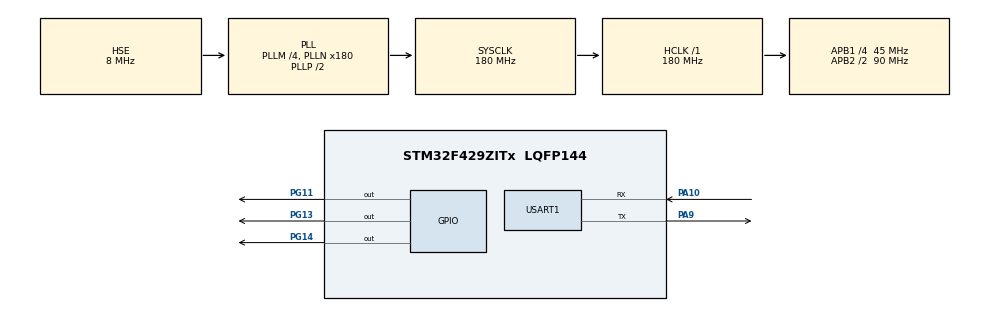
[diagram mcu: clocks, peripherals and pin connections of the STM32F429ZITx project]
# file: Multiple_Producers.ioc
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FREERTOS.Tasks01=defaultTask,0,128,StartDefaultTask,Default,NULL,Dynamic,NULL,NULL
Mcu.Family=STM32F4
Mcu.Name=STM32F429ZITx
Mcu.Package=LQFP144
NVIC.PriorityGroup=NVIC_PRIORITYGROUP_4
NVIC.TIM6_DAC_IRQn=true\:15\:0\:false\:false\:true\:false\:false\:true\:true
NVIC.TimeBase=TIM6_DAC_IRQn
NVIC.TimeBaseIP=TIM6
PA10.Mode=Asynchronous
PA10.Signal=USART1_RX
PA9.Mode=Asynchronous
PA9.Signal=USART1_TX
PG11.Signal=GPIO_Output
PG13.Signal=GPIO_Output
PG14.Signal=GPIO_Output
PH0/OSC_IN.Mode=HSE-External-Oscillator
PH0/OSC_IN.Signal=RCC_OSC_IN
PH1/OSC_OUT.Mode=HSE-External-Oscillator
PH1/OSC_OUT.Signal=RCC_OSC_OUT
ProjectManager.HeapSize=0x200
ProjectManager.StackSize=0x400
ProjectManager.TargetToolchain=STM32CubeIDE
RCC.48MHZClocksFreq_Value=51428571.428571425
RCC.AHBFreq_Value=180000000
RCC.APB1CLKDivider=RCC_HCLK_DIV4
RCC.APB1Freq_Value=45000000
RCC.APB1TimFreq_Value=90000000
RCC.APB2CLKDivider=RCC_HCLK_DIV2
RCC.APB2Freq_Value=90000000
RCC.APB2TimFreq_Value=180000000
RCC.CortexFreq_Value=180000000
RCC.HCLKFreq_Value=180000000
RCC.HSE_VALUE=8000000
RCC.HSI_VALUE=16000000
RCC.LSE_VALUE=32768
RCC.PLLM=4
RCC.PLLN=180
RCC.PLLQ=7
RCC.PLLSourceVirtual=RCC_PLLSOURCE_HSE
RCC.SYSCLKFreq_VALUE=180000000
RCC.SYSCLKSource=RCC_SYSCLKSOURCE_PLLCLK
RCC.VCOOutputFreq_Value=360000000
USART1.VirtualMode=VM_ASYNC
VP_FREERTOS_VS_CMSIS_V1.Mode=CMSIS_V1
VP_SYS_VS_tim6.Mode=TIM6
board=STM32F429I-DISC1

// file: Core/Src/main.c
/* USER CODE BEGIN Header */
/**
  ******************************************************************************
  * @file           : main.c
  * @brief          : Main program body
  ******************************************************************************
  * @attention
  *
  * Copyright (c) 2025 STMicroelectronics.
  * All rights reserved.
  *
  * This software is licensed under terms that can be found in the LICENSE file
  * in the root directory of this software component.
  * If no LICENSE file comes with this software, it is provided AS-IS.
  *
  ******************************************************************************
  */
/* USER CODE END Header */
#include "main.h"

#include "FreeRTOS.h"
#include "task.h"

#include "message_buffer.h"

#include "string.h"
#include "stdio.h"

UART_HandleTypeDef huart1;

void SystemClock_Config(void);
static void MX_GPIO_Init(void);
static void MX_USART1_UART_Init(void);

/* USER CODE BEGIN 0 */

/* *************************** Message Buffer Handle *********************** */
MessageBufferHandle_t MessageBuffer_Handle;

/* *************************** Tasks Handles ****************************** */
TaskHandle_t Producer01_Handle;
TaskHandle_t Producer02_Handle;

TaskHandle_t Consumer_Handle;

/* *************************** Task Functions ******************************* */
void Producer01(void* pv)
{
	uint8_t msg[8];
	memset(msg, 'a', sizeof(msg));

	for(;;)
	{
		if(xMessageBufferSend(MessageBuffer_Handle, msg, sizeof(msg), pdMS_TO_TICKS(100)) != pdPASS)
		{
			HAL_UART_Transmit(&huart1, (uint8_t*)"P1 Message Send Failed\n", 24, HAL_MAX_DELAY);
			HAL_GPIO_TogglePin(GPIOG, GPIO_PIN_13);
		}

		vTaskDelay(pdMS_TO_TICKS(400));
	}
}

void Producer02(void* pv)
{
	uint8_t msg[24];
	memset(msg, 'B', sizeof(msg));

	for(;;)
	{
		if(xMessageBufferSend(MessageBuffer_Handle, msg, sizeof(msg), pdMS_TO_TICKS(100)) != pdPASS)
		{
			HAL_UART_Transmit(&huart1, (uint8_t*) "P2 Message Send Failed\n", 24, HAL_MAX_DELAY);
			HAL_GPIO_TogglePin(GPIOG, GPIO_PIN_14);
		}

		vTaskDelay(pdMS_TO_TICKS(900));
	}
}

void Consumer(void* pv)
{
	uint8_t rxBuffer[64];
	size_t receivedBytes;
	size_t freeSpaceBytes;

	for(;;)
	{
		// Block until a message arrives
		receivedBytes = xMessageBufferReceive(MessageBuffer_Handle, rxBuffer, sizeof(rxBuffer), portMAX_DELAY);

		HAL_GPIO_TogglePin(GPIOG, GPIO_PIN_11);

		// Print received message
		char log[80];
		sprintf(log,"Consumer: Received msg (len=%u): %.*s\n",(unsigned)receivedBytes ,(unsigned)receivedBytes, rxBuffer);
		HAL_UART_Transmit(&huart1, (uint8_t*)log, strlen(log), HAL_MAX_DELAY);

		// Show buffer usage
		freeSpaceBytes = xMessageBufferSpacesAvailable(MessageBuffer_Handle);
		sprintf(log,"Consumer: Free space = %u bytes\n", (unsigned)freeSpaceBytes);
		HAL_UART_Transmit(&huart1, (uint8_t*)log, strlen(log), HAL_MAX_DELAY);

		vTaskDelay(pdMS_TO_TICKS(100));  //
	}
}

/* USER CODE END 0 */

int main(void)
{

  /* MCU Configuration--------------------------------------------------------*/

  /* Reset of all peripherals, Initializes the Flash interface and the Systick. */
  HAL_Init();

  /* Configure the system clock */
  SystemClock_Config();

  /* Initialize all configured peripherals */
  MX_GPIO_Init();
  MX_USART1_UART_Init();
  /* USER CODE BEGIN 2 */

  /* ************************* Create Message Buffer ****************************** */
  MessageBuffer_Handle = xMessageBufferCreate(256);
	if (MessageBuffer_Handle == NULL) {
		HAL_UART_Transmit(&huart1, (uint8_t*)"Message Buffer Creation Failed\n", 32, HAL_MAX_DELAY);
	}else{
		HAL_UART_Transmit(&huart1, (uint8_t*)"Message Buffer Created Successfully\n", 36, HAL_MAX_DELAY);
	}

    /* ************************** Create Tasks ********************************** */
	xTaskCreate(Producer01, "Producer01", 256, NULL, 1, &Producer01_Handle);
	xTaskCreate(Producer02, "Producer02", 256, NULL, 1, &Producer02_Handle);

	xTaskCreate(Consumer, "Consumer", 256, NULL, 2, &Consumer_Handle);

	/* ************************** Start Scheduler ********************************** */
	vTaskStartScheduler();

  /* USER CODE END 2 */

  /* We should never get here as control is now taken by the scheduler */

  /* Infinite loop */
  while (1)
  {

  }
}

void SystemClock_Config(void)
{
  RCC_OscInitTypeDef RCC_OscInitStruct = {0};
  RCC_ClkInitTypeDef RCC_ClkInitStruct = {0};

  /** Configure the main internal regulator output voltage
  */
  __HAL_RCC_PWR_CLK_ENABLE();
  __HAL_PWR_VOLTAGESCALING_CONFIG(PWR_REGULATOR_VOLTAGE_SCALE1);

  /** Initializes the RCC Oscillators according to the specified parameters
  * in the RCC_OscInitTypeDef structure.
  */
  RCC_OscInitStruct.OscillatorType = RCC_OSCILLATORTYPE_HSE;
  RCC_OscInitStruct.HSEState = RCC_HSE_ON;
  RCC_OscInitStruct.PLL.PLLState = RCC_PLL_ON;
  RCC_OscInitStruct.PLL.PLLSource = RCC_PLLSOURCE_HSE;
  RCC_OscInitStruct.PLL.PLLM = 4;
  RCC_OscInitStruct.PLL.PLLN = 180;
  RCC_OscInitStruct.PLL.PLLP = RCC_PLLP_DIV2;
  RCC_OscInitStruct.PLL.PLLQ = 7;
  if (HAL_RCC_OscConfig(&RCC_OscInitStruct) != HAL_OK)
  {
    Error_Handler();
  }

  /** Activate the Over-Drive mode
  */
  if (HAL_PWREx_EnableOverDrive() != HAL_OK)
  {
    Error_Handler();
  }

  /** Initializes the CPU, AHB and APB buses clocks
  */
  RCC_ClkInitStruct.ClockType = RCC_CLOCKTYPE_HCLK|RCC_CLOCKTYPE_SYSCLK
                              |RCC_CLOCKTYPE_PCLK1|RCC_CLOCKTYPE_PCLK2;
  RCC_ClkInitStruct.SYSCLKSource = RCC_SYSCLKSOURCE_PLLCLK;
  RCC_ClkInitStruct.AHBCLKDivider = RCC_SYSCLK_DIV1;
  RCC_ClkInitStruct.APB1CLKDivider = RCC_HCLK_DIV4;
  RCC_ClkInitStruct.APB2CLKDivider = RCC_HCLK_DIV2;

  if (HAL_RCC_ClockConfig(&RCC_ClkInitStruct, FLASH_LATENCY_5) != HAL_OK)
  {
    Error_Handler();
  }
}

static void MX_USART1_UART_Init(void)
{

  huart1.Instance = USART1;
  huart1.Init.BaudRate = 115200;
  huart1.Init.WordLength = UART_WORDLENGTH_8B;
  huart1.Init.StopBits = UART_STOPBITS_1;
  huart1.Init.Parity = UART_PARITY_NONE;
  huart1.Init.Mode = UART_MODE_TX_RX;
  huart1.Init.HwFlowCtl = UART_HWCONTROL_NONE;
  huart1.Init.OverSampling = UART_OVERSAMPLING_16;
  if (HAL_UART_Init(&huart1) != HAL_OK)
  {
    Error_Handler();
  }

}

static void MX_GPIO_Init(void)
{
  GPIO_InitTypeDef GPIO_InitStruct = {0};

  /* GPIO Ports Clock Enable */
  __HAL_RCC_GPIOH_CLK_ENABLE();
  __HAL_RCC_GPIOA_CLK_ENABLE();
  __HAL_RCC_GPIOG_CLK_ENABLE();

  /*Configure GPIO pin Output Level */
  HAL_GPIO_WritePin(GPIOG, GPIO_PIN_11|GPIO_PIN_13|GPIO_PIN_14, GPIO_PIN_RESET);

  /*Configure GPIO pins : PG11 PG13 PG14 */
  GPIO_InitStruct.Pin = GPIO_PIN_11|GPIO_PIN_13|GPIO_PIN_14;
  GPIO_InitStruct.Mode = GPIO_MODE_OUTPUT_PP;
  GPIO_InitStruct.Pull = GPIO_NOPULL;
  GPIO_InitStruct.Speed = GPIO_SPEED_FREQ_LOW;
  HAL_GPIO_Init(GPIOG, &GPIO_InitStruct);

}

void HAL_TIM_PeriodElapsedCallback(TIM_HandleTypeDef *htim)
{
  if (htim->Instance == TIM6)
  {
    HAL_IncTick();
  }
}

void Error_Handler(void)
{
  __disable_irq();
  while (1)
  {
  }
}
